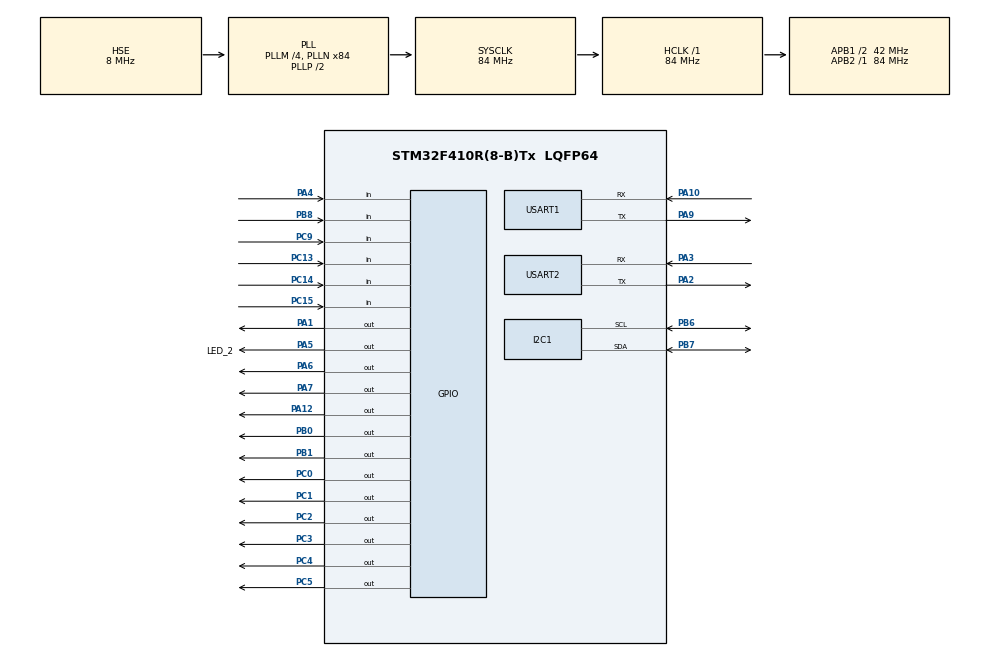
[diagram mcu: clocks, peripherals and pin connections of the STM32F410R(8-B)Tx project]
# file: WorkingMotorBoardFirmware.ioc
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Dma.Request0=USART1_RX
Dma.USART1_RX.0.Direction=DMA_PERIPH_TO_MEMORY
Dma.USART1_RX.0.FIFOMode=DMA_FIFOMODE_DISABLE
Dma.USART1_RX.0.Instance=DMA2_Stream2
Dma.USART1_RX.0.MemDataAlignment=DMA_MDATAALIGN_BYTE
Dma.USART1_RX.0.MemInc=DMA_MINC_ENABLE
Dma.USART1_RX.0.Mode=DMA_NORMAL
Dma.USART1_RX.0.PeriphDataAlignment=DMA_PDATAALIGN_BYTE
Dma.USART1_RX.0.PeriphInc=DMA_PINC_DISABLE
Dma.USART1_RX.0.Priority=DMA_PRIORITY_LOW
Mcu.Family=STM32F4
Mcu.Name=STM32F410R(8-B)Tx
Mcu.Package=LQFP64
NVIC.DMA2_Stream2_IRQn=true\:0\:0\:false\:false\:true\:false\:true\:true
NVIC.PriorityGroup=NVIC_PRIORITYGROUP_4
NVIC.TIM1_BRK_TIM9_IRQn=true\:0\:0\:false\:false\:true\:true\:true\:true
NVIC.TIM6_DAC_IRQn=true\:0\:0\:false\:true\:true\:2\:true\:true\:true
NVIC.USART1_IRQn=true\:0\:0\:false\:false\:true\:true\:true\:true
NVIC.USART2_IRQn=true\:0\:0\:false\:true\:true\:1\:true\:true\:true
PA1.Signal=GPIO_Output
PA10.Mode=Asynchronous
PA10.Signal=USART1_RX
PA12.Signal=GPIO_Output
PA13.Signal=SYS_JTMS-SWDIO
PA14.Signal=SYS_JTCK-SWCLK
PA2.Mode=Asynchronous
PA2.Signal=USART2_TX
PA3.Mode=Asynchronous
PA3.Signal=USART2_RX
PA4.Signal=GPIO_Input
PA5.GPIO_Label=LED_2
PA5.Signal=GPIO_Output
PA6.Signal=GPIO_Output
PA7.Signal=GPIO_Output
PA9.Mode=Asynchronous
PA9.Signal=USART1_TX
PB0.Signal=GPIO_Output
PB1.Signal=GPIO_Output
PB3.Signal=SYS_JTDO-SWO
PB4.Signal=SPI1_MISO
PB5.Signal=SPI1_MOSI
PB6.Mode=I2C
PB6.Signal=I2C1_SCL
PB7.Mode=I2C
PB7.Signal=I2C1_SDA
PB8.Signal=GPIO_Input
PC0.Signal=GPIO_Output
PC1.Signal=GPIO_Output
PC13-ANTI_TAMP.Signal=GPIO_Input
PC14-OSC32_IN.Signal=GPIO_Input
PC15-OSC32_OUT.Signal=GPIO_Input
PC2.Signal=GPIO_Output
PC3.Signal=GPIO_Output
PC4.Signal=GPIO_Output
PC5.Signal=GPIO_Output
PC9.Signal=GPIO_Input
PH0\ -\ OSC_IN.Mode=HSE-External-Oscillator
PH0\ -\ OSC_IN.Signal=RCC_OSC_IN
PH1\ -\ OSC_OUT.Mode=HSE-External-Oscillator
PH1\ -\ OSC_OUT.Signal=RCC_OSC_OUT
ProjectManager.HeapSize=0x200
ProjectManager.StackSize=0x400
ProjectManager.TargetToolchain=STM32CubeIDE
RCC.48MHZClocksFreq_Value=42000000
RCC.AHBFreq_Value=84000000
RCC.APB1CLKDivider=RCC_HCLK_DIV2
RCC.APB1Freq_Value=42000000
RCC.APB1TimFreq_Value=84000000
RCC.APB2Freq_Value=84000000
RCC.APB2TimFreq_Value=84000000
RCC.CortexFreq_Value=84000000
RCC.HCLKFreq_Value=84000000
RCC.HSE_VALUE=8000000
RCC.HSI_VALUE=16000000
RCC.LSE_VALUE=32768
RCC.PLLM=4
RCC.PLLN=84
RCC.PLLSourceVirtual=RCC_PLLSOURCE_HSE
RCC.SYSCLKFreq_VALUE=84000000
RCC.SYSCLKSource=RCC_SYSCLKSOURCE_PLLCLK
RCC.VCOOutputFreq_Value=168000000
TIM6.Period=1000
TIM6.Prescaler=16000
TIM9.Period=2500-1
TIM9.Prescaler=8400-1
USART1.VirtualMode=VM_ASYNC
USART2.VirtualMode=VM_ASYNC
VP_TIM6_VS_ClockSourceINT.Mode=Enable_Timer
VP_TIM9_VS_ClockSourceINT.Mode=Internal
board=custom

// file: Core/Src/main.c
/* USER CODE BEGIN Header */
/**
  ******************************************************************************
  * @file           : main.c
  * @brief          : Main program body
  ******************************************************************************
  * @attention
  *
  * Copyright (c) 2025 STMicroelectronics.
  * All rights reserved.
  *
  * This software is licensed under terms that can be found in the LICENSE file
  * in the root directory of this software component.
  * If no LICENSE file comes with this software, it is provided AS-IS.
  *
  ******************************************************************************
  */
/* USER CODE END Header */
#include "main.h"

/* USER CODE BEGIN Includes */
#include <stdio.h>
#include <string.h>
#include <stdlib.h>
#include "Timer1.h"
/* USER CODE END Includes */

/* USER CODE BEGIN PD */
#define TRUE 1
#define FALSE 0

//Circular Buffer Parameters
#define CIRCULAR_BUFFER_SIZE 3000 //Size of Buffer for UART Recieved communication in Bytes

//PWM Timing Parameters
#define PrescalerRegister 84 - 1 //Divide timer clock (84MHZ) by x + 1
#define INITIALIZE_DUTY 7.5 //7.5 for 1500 us
#define Stop_Duty 7.5
#define PWM_PERIOD 20000    //Period of PWM timers
#define MOTOR_RANGE 200		//Motor power input range (400 Max) leave at 200 unless told otherwise by Elec Lead

//Time to Update Parameters
#define TimeBetweenStatusUpdates 1 //Time between status updates in seconds
#define StatusUpdateSize 11
/* USER CODE END PD */

I2C_HandleTypeDef hi2c1;

TIM_HandleTypeDef htim6;
TIM_HandleTypeDef htim9;

UART_HandleTypeDef huart1;
UART_HandleTypeDef huart2;
DMA_HandleTypeDef hdma_usart1_rx;

/* USER CODE BEGIN PV */

int circleBufferRead = 0;
int circleBufferStore = 0;
int messages = 0;

uint8_t circleBuffer[CIRCULAR_BUFFER_SIZE] = {0};
uint8_t statusUpdate[StatusUpdateSize] = {0};

int LEDTimer1 = 3;
int LEDTimer2 = 0;
int LEDTimer3 = 0;
int LEDTimer4 = 0;
float LEDCount = 0;

float LEDState1 = 0;
float LEDState2 = 0;

float Timecount = 0;

/* USER CODE END PV */

void SystemClock_Config(void);
static void MX_GPIO_Init(void);
static void MX_DMA_Init(void);
static void MX_I2C1_Init(void);
static void MX_USART1_UART_Init(void);
static void MX_USART2_UART_Init(void);
static void MX_TIM6_Init(void);
static void MX_TIM9_Init(void);
static void MX_NVIC_Init(void);

/* USER CODE BEGIN 0 */

void Initialize_Motors(){

	INIT_TIM_PWM(TIM5, PWM_PERIOD,PrescalerRegister);
	INIT_TIM_PWM(TIM1,PWM_PERIOD,PrescalerRegister);
	INIT_TIM_PWM(TIM11,PWM_PERIOD,PrescalerRegister);

	HAL_Delay(100);
	//start pwm 1
	Start_PWM(TIM5,2,INITIALIZE_DUTY,GPIOC,10,2);
	HAL_Delay(1);
	//start pwm 2
	Start_PWM(TIM1,4,INITIALIZE_DUTY,GPIOA,11,1);
	HAL_Delay(1);
	//start pwm 3
	Start_PWM(TIM1,1,INITIALIZE_DUTY,GPIOA,8,1);
	HAL_Delay(1);
	//start pwm 4
	Start_PWM(TIM5,1,INITIALIZE_DUTY,GPIOB,12,2);
	HAL_Delay(1);
	//start pwm 5
	Start_PWM(TIM5,3,INITIALIZE_DUTY,GPIOC,11,2);
	HAL_Delay(1);
	//start pwm 6
	Start_PWM(TIM11,1,INITIALIZE_DUTY,GPIOC,12,3);
	HAL_Delay(1);
	//start pwm 7
	Start_PWM(TIM5,4,INITIALIZE_DUTY,GPIOB,11,2);
	HAL_Delay(1);
	//start pwm 8
	Start_PWM(TIM11,1,INITIALIZE_DUTY,GPIOB,9,3);
}

void Stop_All_Motors(){

	Set_Duty_Cycle(TIM5,2,Stop_Duty);
	Set_Duty_Cycle(TIM1,4,Stop_Duty);
	Set_Duty_Cycle(TIM1,1,Stop_Duty);
	Set_Duty_Cycle(TIM5,1,Stop_Duty);
	Set_Duty_Cycle(TIM5,3,Stop_Duty);
	Set_Duty_Cycle(TIM5,4,Stop_Duty);
	Set_Duty_Cycle(TIM11,1,Stop_Duty);// since two of the outputs on the motorboard are supplied by the same timer/channel we only need 7 statements here
}

void set_Enables_High(){
      HAL_GPIO_WritePin(GPIOA, GPIO_PIN_1, GPIO_PIN_SET);
      HAL_GPIO_WritePin(GPIOA, GPIO_PIN_6, GPIO_PIN_SET);
      HAL_GPIO_WritePin(GPIOA, GPIO_PIN_7, GPIO_PIN_SET);
      HAL_GPIO_WritePin(GPIOA, GPIO_PIN_12, GPIO_PIN_SET);
      HAL_GPIO_WritePin(GPIOB, GPIO_PIN_0, GPIO_PIN_SET);
      HAL_GPIO_WritePin(GPIOB, GPIO_PIN_1, GPIO_PIN_SET);
      HAL_GPIO_WritePin(GPIOC, GPIO_PIN_4, GPIO_PIN_SET);
      HAL_GPIO_WritePin(GPIOC, GPIO_PIN_5, GPIO_PIN_SET);
}
void set_Enables_Low(){
      HAL_GPIO_WritePin(GPIOA, GPIO_PIN_1, GPIO_PIN_RESET);
      HAL_GPIO_WritePin(GPIOA, GPIO_PIN_6, GPIO_PIN_RESET);
      HAL_GPIO_WritePin(GPIOA, GPIO_PIN_7, GPIO_PIN_RESET);
      HAL_GPIO_WritePin(GPIOA, GPIO_PIN_12, GPIO_PIN_RESET);
      HAL_GPIO_WritePin(GPIOB, GPIO_PIN_0, GPIO_PIN_RESET);
      HAL_GPIO_WritePin(GPIOB, GPIO_PIN_1, GPIO_PIN_RESET);
      HAL_GPIO_WritePin(GPIOC, GPIO_PIN_4, GPIO_PIN_RESET);
      HAL_GPIO_WritePin(GPIOC, GPIO_PIN_5, GPIO_PIN_RESET);
}

int Motor_Control(){

	int direction = 1;

	if(circleBuffer[circleBufferRead + 2] & 128){
		direction = -1;
	}

	uint8_t rawSpeed = circleBuffer[circleBufferRead + 2];
	float speed = (rawSpeed & 127)*direction;
	speed = (speed/127)*MOTOR_RANGE;
	float Duty = (1500 + speed)/PWM_PERIOD;
	Duty *= 100;

	uint8_t MotorSelect = circleBuffer[circleBufferRead + 1];

	if(MotorSelect & 1){
		Set_Duty_Cycle(TIM5,2,Duty); //Motor1 ...
		statusUpdate[1] = rawSpeed;
	}
	if(MotorSelect & 2){
		Set_Duty_Cycle(TIM1,4,Duty);
		statusUpdate[2] = rawSpeed;
	}
	if(MotorSelect & 4){
		Set_Duty_Cycle(TIM1,1,Duty);
		statusUpdate[3] = rawSpeed;
	}
	if(MotorSelect & 8){
		Set_Duty_Cycle(TIM5,1,Duty);
		statusUpdate[4] = rawSpeed;
	}
	if(MotorSelect & 16){
		Set_Duty_Cycle(TIM5,3,Duty);
		statusUpdate[5] = rawSpeed;
	}
	if(MotorSelect & 32){
		Set_Duty_Cycle(TIM11,1,Duty);
		statusUpdate[6] = rawSpeed;
	}
	if(MotorSelect & 64){
		Set_Duty_Cycle(TIM5,4,Duty);
		statusUpdate[7] = rawSpeed;
	}
	if(MotorSelect & 128){
		Set_Duty_Cycle(TIM11,1,Duty);	//Motor 8
		statusUpdate[8] = rawSpeed;
	}

}

void LED_Control(){

	int LEDSpeed = circleBuffer[circleBufferRead + 2];
	uint8_t LEDSelect = circleBuffer[circleBufferRead + 1];

	if(LEDSelect & 1){
		//LEDTimer1 = LEDSpeed; //Commented out to make LED1 uneditable
	}
	if(LEDSelect & 2){
		LEDTimer2 = LEDSpeed;
	}
	if(LEDSelect & 4){
		LEDTimer3 = LEDSpeed;
	}
	if(LEDSelect & 8){
		LEDTimer4 = LEDSpeed;
	}

}

void readBuffer(){

	if(circleBuffer[circleBufferRead] == 'M'){

		Motor_Control();

	}
	else if(circleBuffer[circleBufferRead] == 'L'){
		LED_Control();

	}
	else if(circleBuffer[circleBufferRead] == 'P'){

	}
	else if(circleBuffer[circleBufferRead] == 'O' && circleBuffer[circleBufferRead + 1] == 'F' && circleBuffer[circleBufferRead + 2] == 'F'){
		Stop_All_Motors();
		HAL_Delay(1000);
		set_Enables_High();

	}
	else if(circleBuffer[circleBufferRead] == 'I' && circleBuffer[circleBufferRead + 1] == 'N' && circleBuffer[circleBufferRead + 2] == 'I'){
		set_Enables_Low();
		Initialize_Motors();

	}

	messages -= 1;
	circleBufferRead += 3;
	if(circleBufferRead >= CIRCULAR_BUFFER_SIZE-1){
		circleBufferRead = 0;
	}
}

void LEDToggle(uint16_t pin,int Timer){

	if(Timer == 0){
		HAL_GPIO_WritePin(GPIOC, pin, 0);
	}
	else if(Timer == 1){

		HAL_GPIO_WritePin(GPIOC, pin, LEDState1);
	}
	else if(Timer == 2){
		HAL_GPIO_WritePin(GPIOC, pin, LEDState2);
	}
	else if(Timer == 3){
		HAL_GPIO_WritePin(GPIOC, pin, 1);
	}

}

void SendUpdate(){

	if(Timecount == TimeBetweenStatusUpdates){
		HAL_UART_Transmit(&huart1, statusUpdate, StatusUpdateSize, 0xFFFF);
	}
}

/* USER CODE END 0 */

int main(void)
{

  /* MCU Configuration--------------------------------------------------------*/

  /* Reset of all peripherals, Initializes the Flash interface and the Systick. */
  HAL_Init();

  /* Configure the system clock */
  SystemClock_Config();

  /* Initialize all configured peripherals */
  MX_GPIO_Init();
  MX_DMA_Init();
  MX_I2C1_Init();
  MX_USART1_UART_Init();
  MX_USART2_UART_Init();
  MX_TIM6_Init();
  MX_TIM9_Init();

  /* Initialize interrupts */
  MX_NVIC_Init();
  /* USER CODE BEGIN 2 */
  HAL_UART_Receive_DMA(&huart1, &circleBuffer[circleBufferStore], 3);
  statusUpdate[0] = 'S';
  HAL_TIM_Base_Start_IT(&htim9);
  set_Enables_High();
  /* USER CODE END 2 */

  /* Infinite loop */
  /* USER CODE BEGIN WHILE */
  while (1)
  {

	  if(messages > 0){
	  		  readBuffer();
	  	  }

    /* USER CODE END WHILE */

  }
}

void SystemClock_Config(void)
{
  RCC_OscInitTypeDef RCC_OscInitStruct = {0};
  RCC_ClkInitTypeDef RCC_ClkInitStruct = {0};

  /** Configure the main internal regulator output voltage
  */
  __HAL_RCC_PWR_CLK_ENABLE();
  __HAL_PWR_VOLTAGESCALING_CONFIG(PWR_REGULATOR_VOLTAGE_SCALE1);

  /** Initializes the RCC Oscillators according to the specified parameters
  * in the RCC_OscInitTypeDef structure.
  */
  RCC_OscInitStruct.OscillatorType = RCC_OSCILLATORTYPE_HSE;
  RCC_OscInitStruct.HSEState = RCC_HSE_ON;
  RCC_OscInitStruct.PLL.PLLState = RCC_PLL_ON;
  RCC_OscInitStruct.PLL.PLLSource = RCC_PLLSOURCE_HSE;
  RCC_OscInitStruct.PLL.PLLM = 4;
  RCC_OscInitStruct.PLL.PLLN = 84;
  RCC_OscInitStruct.PLL.PLLP = RCC_PLLP_DIV2;
  RCC_OscInitStruct.PLL.PLLQ = 4;
  RCC_OscInitStruct.PLL.PLLR = 2;
  if (HAL_RCC_OscConfig(&RCC_OscInitStruct) != HAL_OK)
  {
    Error_Handler();
  }

  /** Initializes the CPU, AHB and APB buses clocks
  */
  RCC_ClkInitStruct.ClockType = RCC_CLOCKTYPE_HCLK|RCC_CLOCKTYPE_SYSCLK
                              |RCC_CLOCKTYPE_PCLK1|RCC_CLOCKTYPE_PCLK2;
  RCC_ClkInitStruct.SYSCLKSource = RCC_SYSCLKSOURCE_PLLCLK;
  RCC_ClkInitStruct.AHBCLKDivider = RCC_SYSCLK_DIV1;
  RCC_ClkInitStruct.APB1CLKDivider = RCC_HCLK_DIV2;
  RCC_ClkInitStruct.APB2CLKDivider = RCC_HCLK_DIV1;

  if (HAL_RCC_ClockConfig(&RCC_ClkInitStruct, FLASH_LATENCY_2) != HAL_OK)
  {
    Error_Handler();
  }
}

/**
  * @brief NVIC Configuration.
  * @retval None
  */
static void MX_NVIC_Init(void)
{
  /* USART2_IRQn interrupt configuration */
  HAL_NVIC_SetPriority(USART2_IRQn, 0, 0);
  HAL_NVIC_EnableIRQ(USART2_IRQn);
  /* TIM6_DAC_IRQn interrupt configuration */
  HAL_NVIC_SetPriority(TIM6_DAC_IRQn, 0, 0);
  HAL_NVIC_EnableIRQ(TIM6_DAC_IRQn);
}

static void MX_I2C1_Init(void)
{

  hi2c1.Instance = I2C1;
  hi2c1.Init.ClockSpeed = 100000;
  hi2c1.Init.DutyCycle = I2C_DUTYCYCLE_2;
  hi2c1.Init.OwnAddress1 = 0;
  hi2c1.Init.AddressingMode = I2C_ADDRESSINGMODE_7BIT;
  hi2c1.Init.DualAddressMode = I2C_DUALADDRESS_DISABLE;
  hi2c1.Init.OwnAddress2 = 0;
  hi2c1.Init.GeneralCallMode = I2C_GENERALCALL_DISABLE;
  hi2c1.Init.NoStretchMode = I2C_NOSTRETCH_DISABLE;
  if (HAL_I2C_Init(&hi2c1) != HAL_OK)
  {
    Error_Handler();
  }

}

static void MX_TIM6_Init(void)
{

  TIM_MasterConfigTypeDef sMasterConfig = {0};

  htim6.Instance = TIM6;
  htim6.Init.Prescaler = 16000;
  htim6.Init.CounterMode = TIM_COUNTERMODE_UP;
  htim6.Init.Period = 1000;
  htim6.Init.AutoReloadPreload = TIM_AUTORELOAD_PRELOAD_DISABLE;
  if (HAL_TIM_Base_Init(&htim6) != HAL_OK)
  {
    Error_Handler();
  }
  sMasterConfig.MasterOutputTrigger = TIM_TRGO_RESET;
  sMasterConfig.MasterSlaveMode = TIM_MASTERSLAVEMODE_DISABLE;
  if (HAL_TIMEx_MasterConfigSynchronization(&htim6, &sMasterConfig) != HAL_OK)
  {
    Error_Handler();
  }

}

static void MX_TIM9_Init(void)
{

  TIM_ClockConfigTypeDef sClockSourceConfig = {0};

  htim9.Instance = TIM9;
  htim9.Init.Prescaler = 8400-1;
  htim9.Init.CounterMode = TIM_COUNTERMODE_UP;
  htim9.Init.Period = 2500-1;
  htim9.Init.ClockDivision = TIM_CLOCKDIVISION_DIV1;
  htim9.Init.AutoReloadPreload = TIM_AUTORELOAD_PRELOAD_DISABLE;
  if (HAL_TIM_Base_Init(&htim9) != HAL_OK)
  {
    Error_Handler();
  }
  sClockSourceConfig.ClockSource = TIM_CLOCKSOURCE_INTERNAL;
  if (HAL_TIM_ConfigClockSource(&htim9, &sClockSourceConfig) != HAL_OK)
  {
    Error_Handler();
  }

}

static void MX_USART1_UART_Init(void)
{

  huart1.Instance = USART1;
  huart1.Init.BaudRate = 115200;
  huart1.Init.WordLength = UART_WORDLENGTH_8B;
  huart1.Init.StopBits = UART_STOPBITS_1;
  huart1.Init.Parity = UART_PARITY_NONE;
  huart1.Init.Mode = UART_MODE_TX_RX;
  huart1.Init.HwFlowCtl = UART_HWCONTROL_NONE;
  huart1.Init.OverSampling = UART_OVERSAMPLING_16;
  if (HAL_UART_Init(&huart1) != HAL_OK)
  {
    Error_Handler();
  }

}

static void MX_USART2_UART_Init(void)
{

  huart2.Instance = USART2;
  huart2.Init.BaudRate = 115200;
  huart2.Init.WordLength = UART_WORDLENGTH_8B;
  huart2.Init.StopBits = UART_STOPBITS_1;
  huart2.Init.Parity = UART_PARITY_NONE;
  huart2.Init.Mode = UART_MODE_TX_RX;
  huart2.Init.HwFlowCtl = UART_HWCONTROL_NONE;
  huart2.Init.OverSampling = UART_OVERSAMPLING_16;
  if (HAL_UART_Init(&huart2) != HAL_OK)
  {
    Error_Handler();
  }

}

static void MX_DMA_Init(void)
{

  /* DMA controller clock enable */
  __HAL_RCC_DMA2_CLK_ENABLE();

  /* DMA interrupt init */
  /* DMA2_Stream2_IRQn interrupt configuration */
  HAL_NVIC_SetPriority(DMA2_Stream2_IRQn, 0, 0);
  HAL_NVIC_EnableIRQ(DMA2_Stream2_IRQn);

}

static void MX_GPIO_Init(void)
{
  GPIO_InitTypeDef GPIO_InitStruct = {0};

  /* GPIO Ports Clock Enable */
  __HAL_RCC_GPIOC_CLK_ENABLE();
  __HAL_RCC_GPIOH_CLK_ENABLE();
  __HAL_RCC_GPIOA_CLK_ENABLE();
  __HAL_RCC_GPIOB_CLK_ENABLE();

  /*Configure GPIO pin Output Level */
  HAL_GPIO_WritePin(GPIOC, GPIO_PIN_0|GPIO_PIN_1|GPIO_PIN_2|GPIO_PIN_3
                          |GPIO_PIN_4|GPIO_PIN_5, GPIO_PIN_RESET);

  /*Configure GPIO pin Output Level */
  HAL_GPIO_WritePin(GPIOA, GPIO_PIN_1|LED_2_Pin|GPIO_PIN_6|GPIO_PIN_7
                          |GPIO_PIN_12, GPIO_PIN_RESET);

  /*Configure GPIO pin Output Level */
  HAL_GPIO_WritePin(GPIOB, GPIO_PIN_0|GPIO_PIN_1, GPIO_PIN_RESET);

  /*Configure GPIO pins : PC13 PC14 PC15 PC9 */
  GPIO_InitStruct.Pin = GPIO_PIN_13|GPIO_PIN_14|GPIO_PIN_15|GPIO_PIN_9;
  GPIO_InitStruct.Mode = GPIO_MODE_INPUT;
  GPIO_InitStruct.Pull = GPIO_NOPULL;
  HAL_GPIO_Init(GPIOC, &GPIO_InitStruct);

  /*Configure GPIO pins : PC0 PC1 PC2 PC3
                           PC4 PC5 */
  GPIO_InitStruct.Pin = GPIO_PIN_0|GPIO_PIN_1|GPIO_PIN_2|GPIO_PIN_3
                          |GPIO_PIN_4|GPIO_PIN_5;
  GPIO_InitStruct.Mode = GPIO_MODE_OUTPUT_PP;
  GPIO_InitStruct.Pull = GPIO_NOPULL;
  GPIO_InitStruct.Speed = GPIO_SPEED_FREQ_LOW;
  HAL_GPIO_Init(GPIOC, &GPIO_InitStruct);

  /*Configure GPIO pins : PA1 LED_2_Pin PA6 PA7
                           PA12 */
  GPIO_InitStruct.Pin = GPIO_PIN_1|LED_2_Pin|GPIO_PIN_6|GPIO_PIN_7
                          |GPIO_PIN_12;
  GPIO_InitStruct.Mode = GPIO_MODE_OUTPUT_PP;
  GPIO_InitStruct.Pull = GPIO_NOPULL;
  GPIO_InitStruct.Speed = GPIO_SPEED_FREQ_LOW;
  HAL_GPIO_Init(GPIOA, &GPIO_InitStruct);

  /*Configure GPIO pin : PA4 */
  GPIO_InitStruct.Pin = GPIO_PIN_4;
  GPIO_InitStruct.Mode = GPIO_MODE_INPUT;
  GPIO_InitStruct.Pull = GPIO_NOPULL;
  HAL_GPIO_Init(GPIOA, &GPIO_InitStruct);

  /*Configure GPIO pins : PB0 PB1 */
  GPIO_InitStruct.Pin = GPIO_PIN_0|GPIO_PIN_1;
  GPIO_InitStruct.Mode = GPIO_MODE_OUTPUT_PP;
  GPIO_InitStruct.Pull = GPIO_NOPULL;
  GPIO_InitStruct.Speed = GPIO_SPEED_FREQ_LOW;
  HAL_GPIO_Init(GPIOB, &GPIO_InitStruct);

  /*Configure GPIO pins : PB4 PB5 */
  GPIO_InitStruct.Pin = GPIO_PIN_4|GPIO_PIN_5;
  GPIO_InitStruct.Mode = GPIO_MODE_AF_PP;
  GPIO_InitStruct.Pull = GPIO_NOPULL;
  GPIO_InitStruct.Speed = GPIO_SPEED_FREQ_VERY_HIGH;
  GPIO_InitStruct.Alternate = GPIO_AF5_SPI1;
  HAL_GPIO_Init(GPIOB, &GPIO_InitStruct);

  /*Configure GPIO pin : PB8 */
  GPIO_InitStruct.Pin = GPIO_PIN_8;
  GPIO_InitStruct.Mode = GPIO_MODE_INPUT;
  GPIO_InitStruct.Pull = GPIO_NOPULL;
  HAL_GPIO_Init(GPIOB, &GPIO_InitStruct);

}

/* USER CODE BEGIN 4 */

void HAL_UART_RxCpltCallback(UART_HandleTypeDef *huart){
	///HAL_UART_Transmit(&huart1, buffer, 1, 0xFFFF);
	messages += 1;
	circleBufferStore += 3;

	if(circleBufferStore >= CIRCULAR_BUFFER_SIZE - 1){
		circleBufferStore = 0;
	}

	statusUpdate[9] = (100*messages*3)/CIRCULAR_BUFFER_SIZE;
	HAL_UART_Receive_DMA(&huart1, &circleBuffer[circleBufferStore], 3);
}

void HAL_TIM_PeriodElapsedCallback(TIM_HandleTypeDef* htim){

	if(htim == &htim9){

		Timecount += 0.25;
		LEDCount += 0.25;

		if(LEDCount == 1){
			if(LEDState2 == 1){
				LEDState2 = 0;
			}
			else{
				LEDState2 = 1;
			}
		}

		if(LEDState1 == 0){
			LEDState1 = 1;
		}
		else{
			LEDState1 = 0;
		}

		LEDToggle(GPIO_PIN_0, LEDTimer1);
		LEDToggle(GPIO_PIN_1, LEDTimer2);
		LEDToggle(GPIO_PIN_2, LEDTimer3);
		LEDToggle(GPIO_PIN_3, LEDTimer4);

		SendUpdate();

		if(Timecount >= TimeBetweenStatusUpdates){
			Timecount = 0;
		}

		if(LEDCount >= 1){
			LEDCount = 0;
		}

}
}

/* USER CODE END 4 */

void Error_Handler(void)
{
  __disable_irq();
  while (1)
  {
  }
}
